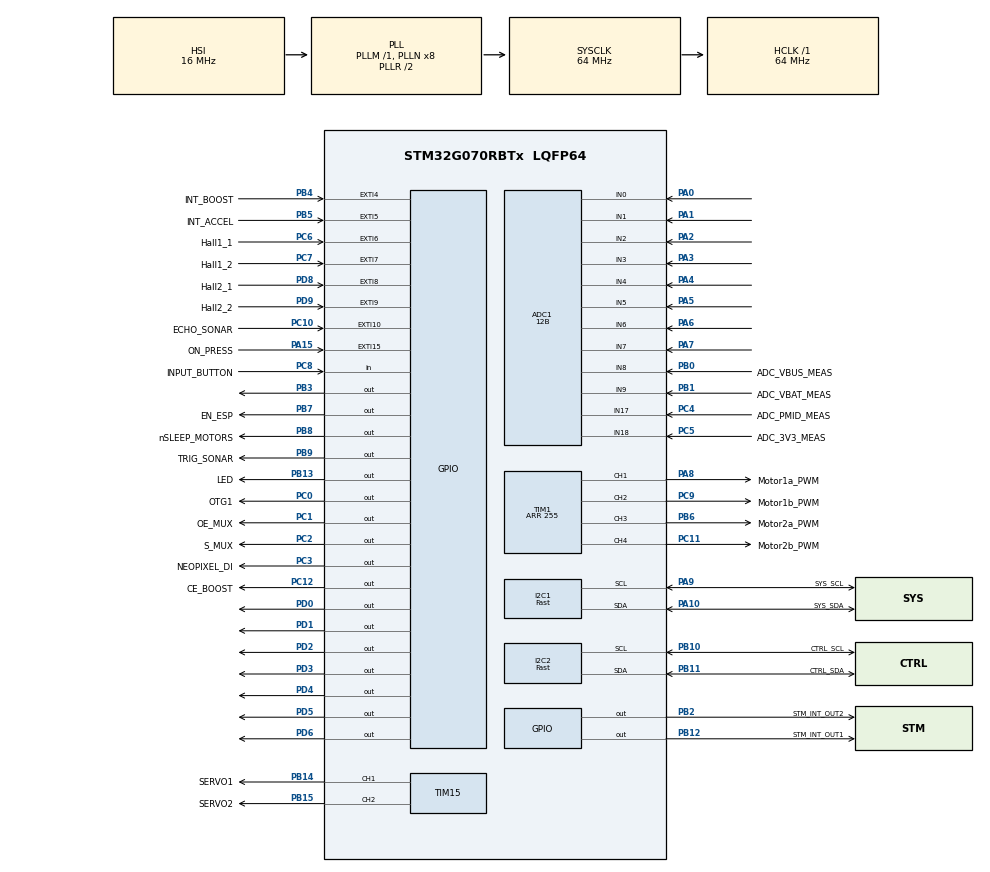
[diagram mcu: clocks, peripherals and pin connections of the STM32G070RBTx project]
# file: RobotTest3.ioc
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ADC1.ClockPrescaler=ADC_CLOCK_ASYNC_DIV1
ADC1.ContinuousConvMode=ENABLE
ADC1.DMAContinuousRequests=DISABLE
ADC1.DiscontinuousConvMode=DISABLE
ADC1.EOCSelection=ADC_EOC_SEQ_CONV
ADC1.EnableAnalogWatchDog1=false
ADC1.ExternalTrigConv=ADC_SOFTWARE_START
ADC1.ExternalTrigConvEdge=ADC_EXTERNALTRIGCONVEDGE_NONE
ADC1.NbrOfConversion=1
ADC1.NbrOfConversionFlag=0
ADC1.Overrun=ADC_OVR_DATA_PRESERVED
ADC1.OversamplingMode=DISABLE
ADC1.Resolution=ADC_RESOLUTION_12B
ADC1.SamplingTimeCommon1=ADC_SAMPLETIME_39CYCLES_5
ADC1.SelectedChannel=ADC_CHANNEL_0|ADC_CHANNEL_1|ADC_CHANNEL_2|ADC_CHANNEL_3|ADC_CHANNEL_4|ADC_CHANNEL_5|ADC_CHANNEL_6|ADC_CHANNEL_7|ADC_CHANNEL_8|ADC_CHANNEL_9|ADC_CHANNEL_17|ADC_CHANNEL_18
ADC1.Sequencer=NOT_FULLY_CONFIGURABLE
ADC1.TriggerFrequencyMode=ADC_TRIGGER_FREQ_HIGH
ADC1.master=1
Dma.ADC1.0.Direction=DMA_PERIPH_TO_MEMORY
Dma.ADC1.0.EventEnable=DISABLE
Dma.ADC1.0.Instance=DMA1_Channel1
Dma.ADC1.0.MemDataAlignment=DMA_MDATAALIGN_HALFWORD
Dma.ADC1.0.MemInc=DMA_MINC_ENABLE
Dma.ADC1.0.Mode=DMA_CIRCULAR
Dma.ADC1.0.PeriphDataAlignment=DMA_PDATAALIGN_HALFWORD
Dma.ADC1.0.PeriphInc=DMA_PINC_DISABLE
Dma.ADC1.0.Polarity=HAL_DMAMUX_REQ_GEN_RISING
Dma.ADC1.0.Priority=DMA_PRIORITY_VERY_HIGH
Dma.ADC1.0.RequestNumber=1
Dma.ADC1.0.SignalID=NONE
Dma.ADC1.0.SyncEnable=DISABLE
Dma.ADC1.0.SyncPolarity=HAL_DMAMUX_SYNC_NO_EVENT
Dma.ADC1.0.SyncRequestNumber=1
Dma.ADC1.0.SyncSignalID=NONE
Dma.Request0=ADC1
I2C1.CustomTiming=Disabled
I2C1.I2C_Speed_Mode=I2C_Fast
I2C1.OwnAddress=0x01
I2C1.Timing=0x00602173
I2C2.I2C_Speed_Mode=I2C_Fast
I2C2.OwnAddress=0x01
I2C2.Timing=0x00602173
Mcu.Family=STM32G0
Mcu.Name=STM32G070RBTx
Mcu.Package=LQFP64
NVIC.DMA1_Channel1_IRQn=true\:1\:0\:true\:false\:true\:false\:true\:true
NVIC.EXTI4_15_IRQn=true\:1\:0\:true\:false\:true\:true\:true\:true
NVIC.I2C1_IRQn=true\:1\:0\:true\:false\:true\:true\:true\:true
NVIC.I2C2_IRQn=true\:1\:0\:true\:false\:true\:true\:true\:true
NVIC.TIM14_IRQn=true\:0\:0\:false\:false\:true\:true\:true\:true
NVIC.TIM3_IRQn=true\:0\:0\:true\:false\:true\:true\:true\:true
NVIC.TIM6_IRQn=true\:1\:0\:true\:false\:true\:true\:true\:true
NVIC.TIM7_IRQn=true\:0\:0\:false\:false\:true\:true\:true\:true
PA0.Mode=IN0
PA0.Signal=ADC1_IN0
PA1.Mode=IN1
PA1.Signal=ADC1_IN1
PA10.GPIO_Label=SYS_SDA
PA10.Mode=I2C
PA10.Signal=I2C1_SDA
PA13.Mode=Serial_Wire
PA13.Signal=SYS_SWDIO
PA14-BOOT0.Mode=Serial_Wire
PA14-BOOT0.Signal=SYS_SWCLK
PA15.GPIO_Label=ON_PRESS
PA15.GPIO_ModeDefaultEXTI=GPIO_MODE_IT_FALLING
PA15.Signal=GPXTI15
PA2.Mode=IN2
PA2.Signal=ADC1_IN2
PA3.Mode=IN3
PA3.Signal=ADC1_IN3
PA4.Mode=IN4
PA4.Signal=ADC1_IN4
PA5.Mode=IN5
PA5.Signal=ADC1_IN5
PA6.Mode=IN6
PA6.Signal=ADC1_IN6
PA7.Mode=IN7
PA7.Signal=ADC1_IN7
PA8.GPIO_Label=Motor1a_PWM
PA8.Signal=S_TIM1_CH1
PA9.GPIO_Label=SYS_SCL
PA9.Mode=I2C
PA9.Signal=I2C1_SCL
PB0.GPIO_Label=ADC_VBUS_MEAS
PB0.Mode=IN8
PB0.Signal=ADC1_IN8
PB1.GPIO_Label=ADC_VBAT_MEAS
PB1.GPIO_Mode=GPIO_MODE_ANALOG
PB1.GPIO_PuPd=GPIO_NOPULL
PB1.Mode=IN9
PB1.Signal=ADC1_IN9
PB10.GPIO_Label=CTRL_SCL
PB10.Mode=I2C
PB10.Signal=I2C2_SCL
PB11.GPIO_Label=CTRL_SDA
PB11.Mode=I2C
PB11.Signal=I2C2_SDA
PB12.GPIO_Label=STM_INT_OUT1
PB12.Signal=GPIO_Output
PB13.GPIO_Label=LED
PB13.Signal=GPIO_Output
PB14.GPIO_Label=SERVO1
PB14.Signal=S_TIM15_CH1
PB15.GPIO_Label=SERVO2
PB15.Signal=S_TIM15_CH2
PB2.GPIO_Label=STM_INT_OUT2
PB2.Signal=GPIO_Output
PB3.Signal=GPIO_Output
PB4.GPIO_Label=INT_BOOST
PB4.Signal=GPXTI4
PB5.GPIO_Label=INT_ACCEL
PB5.Signal=GPXTI5
PB6.GPIO_FM6=__NULL
PB6.GPIO_Label=Motor2a_PWM
PB6.Signal=S_TIM1_CH3
PB7.GPIO_Label=EN_ESP
PB7.PinState=GPIO_PIN_RESET
PB7.Signal=GPIO_Output
PB8.GPIO_Label=nSLEEP_MOTORS
PB8.PinState=GPIO_PIN_SET
PB8.Signal=GPIO_Output
PB9.GPIO_Label=TRIG_SONAR
PB9.Signal=GPIO_Output
PC0.GPIO_Label=OTG1
PC0.PinState=GPIO_PIN_SET
PC0.Signal=GPIO_Output
PC1.GPIO_Label=OE_MUX
PC1.Signal=GPIO_Output
PC10.GPIO_Label=ECHO_SONAR
PC10.GPIO_ModeDefaultEXTI=GPIO_MODE_IT_RISING_FALLING
PC10.Signal=GPXTI10
PC11.GPIO_Label=Motor2b_PWM
PC11.Signal=S_TIM1_CH4
PC12.GPIO_Label=CE_BOOST
PC12.Signal=GPIO_Output
PC2.GPIO_Label=S_MUX
PC2.PinState=GPIO_PIN_SET
PC2.Signal=GPIO_Output
PC3.GPIO_Label=NEOPIXEL_DI
PC3.GPIO_ModeDefaultOutputPP=GPIO_MODE_OUTPUT_OD
PC3.GPIO_PuPd=GPIO_NOPULL
PC3.PinState=GPIO_PIN_SET
PC3.Signal=GPIO_Output
PC4.GPIO_Label=ADC_PMID_MEAS
PC4.Mode=IN17
PC4.Signal=ADC1_IN17
PC5.GPIO_Label=ADC_3V3_MEAS
PC5.Mode=IN18
PC5.Signal=ADC1_IN18
PC6.GPIO_Label=Hall1_1
PC6.Signal=GPXTI6
PC7.GPIO_Label=Hall1_2
PC7.Signal=GPXTI7
PC8.GPIO_Label=INPUT_BUTTON
PC8.Signal=GPIO_Input
PC9.GPIO_Label=Motor1b_PWM
PC9.Signal=S_TIM1_CH2
PD0.Signal=GPIO_Output
PD1.Signal=GPIO_Output
PD2.Signal=GPIO_Output
PD3.Signal=GPIO_Output
PD4.Signal=GPIO_Output
PD5.Signal=GPIO_Output
PD6.Signal=GPIO_Output
PD8.GPIO_Label=Hall2_1
PD8.Signal=GPXTI8
PD9.GPIO_Label=Hall2_2
PD9.Signal=GPXTI9
ProjectManager.HeapSize=0x200
ProjectManager.StackSize=0x400
ProjectManager.TargetToolchain=STM32CubeIDE
RCC.ADCFreq_Value=64000000
RCC.AHBFreq_Value=64000000
RCC.CortexFreq_Value=64000000
RCC.EXTERNAL_CLOCK_VALUE=48000
RCC.HCLKFreq_Value=64000000
RCC.HSE_VALUE=8000000
RCC.HSI_VALUE=16000000
RCC.LSE_VALUE=32768
RCC.SYSCLKFreq_VALUE=64000000
RCC.SYSCLKSource=RCC_SYSCLKSOURCE_PLLCLK
RCC.VCOOutputFreq_Value=128000000
SH.S_TIM15_CH1.0=TIM15_CH1,PWM Generation1 CH1
SH.S_TIM15_CH2.0=TIM15_CH2,PWM Generation2 CH2
SH.S_TIM1_CH1.0=TIM1_CH1,PWM Generation1 CH1
SH.S_TIM1_CH2.0=TIM1_CH2,PWM Generation2 CH2
SH.S_TIM1_CH3.0=TIM1_CH3,PWM Generation3 CH3
SH.S_TIM1_CH4.0=TIM1_CH4,PWM Generation4 CH4
TIM1.Channel-PWM\ Generation1\ CH1=TIM_CHANNEL_1
TIM1.Channel-PWM\ Generation2\ CH2=TIM_CHANNEL_2
TIM1.Channel-PWM\ Generation3\ CH3=TIM_CHANNEL_3
TIM1.Channel-PWM\ Generation4\ CH4=TIM_CHANNEL_4
TIM1.ClockDivision=TIM_CLOCKDIVISION_DIV1
TIM1.OCPolarity_1=TIM_OCPOLARITY_HIGH
TIM1.OCPolarity_2=TIM_OCPOLARITY_HIGH
TIM1.OCPolarity_3=TIM_OCPOLARITY_HIGH
TIM1.OCPolarity_4=TIM_OCPOLARITY_HIGH
TIM1.Period=255
TIM1.Pulse-PWM\ Generation1\ CH1=0
TIM1.Pulse-PWM\ Generation4\ CH4=0
TIM14.Period=2400
TIM15.Channel-PWM\ Generation1\ CH1=TIM_CHANNEL_1
TIM15.Channel-PWM\ Generation2\ CH2=TIM_CHANNEL_2
TIM3.ClockDivision=TIM_CLOCKDIVISION_DIV1
TIM3.Period=1000
TIM3.TIM_MasterOutputTrigger=TIM_TRGO_RESET
TIM6.Period=64000
TIM7.Period=9600
VP_TIM14_VS_ClockSourceINT.Mode=Enable_Timer
VP_TIM1_VS_ClockSourceINT.Mode=Internal
VP_TIM3_VS_ClockSourceINT.Mode=Internal
VP_TIM6_VS_ClockSourceINT.Mode=Enable_Timer
VP_TIM7_VS_ClockSourceINT.Mode=Enable_Timer
board=custom

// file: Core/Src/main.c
/* USER CODE BEGIN Header */
/**
  ******************************************************************************
  * @file           : main.c
  * @brief          : Main program body
  ******************************************************************************
  * @attention
  *
  * Copyright (c) 2023 STMicroelectronics.
  * All rights reserved.
  *
  * This software is licensed under terms that can be found in the LICENSE file
  * in the root directory of this software component.
  * If no LICENSE file comes with this software, it is provided AS-IS.
  *
  ******************************************************************************
  */
/* USER CODE END Header */
#include "main.h"

/* USER CODE BEGIN Includes */
#include "stdlib.h"
/* USER CODE END Includes */

/* USER CODE BEGIN PTD */

//----------------------register record

typedef struct __attribute__((packed)) {
    uint8_t shutdown : 1;			//shutdown robot
    uint8_t irleds : 1;				//enable IRleds
    uint8_t sonar : 1;				//enable hc-sr04
    uint8_t servo : 1;				//enable servo output
    uint8_t motors : 1;				//enable motor drivers & PWM out
    uint8_t encoderMeas : 1;		//enable encoder step counting
    uint8_t powerMeas : 1;			//enable power measurements over i2c
    uint8_t neopixels : 1;			//enable neopixel driver
} EnableConfig_t;

typedef struct __attribute__((packed)) {
    uint8_t rate1 : 2;				//group 1 sensor polling rate 20hz/60hz/120hz/240hz
    uint8_t rate2 : 2;				//group 2 sensor polling rate 20hz/60hz/120hz/240hz
    uint8_t interrupt1 : 1;			//interrupt for group 1 (signals data ready)
    uint8_t interrupt2 : 1;			//interrupt for group 2 (signals data ready)
    uint8_t bit6 : 1;
    uint8_t bit7 : 1;
} PollingConfig_t;

typedef struct __attribute__((packed)) {
    uint8_t pollN : 1;				//which sensor group it belongs (1 or 2)
    uint8_t power : 3;				//power settings (to be implemented)
    uint8_t bit4 : 1;
    uint8_t bit5 : 1;
    uint8_t bit6 : 1;
    uint8_t bit7 : 1;
} IRledConfig_t;

typedef struct __attribute__((packed)) {
    uint8_t PollN : 1;				//which sensor group it belongs (1 or 2)
    uint8_t bit1 : 1;
    uint8_t bit2 : 1;
    uint8_t bit3 : 1;
    uint8_t bit4 : 1;
    uint8_t bit5 : 1;
    uint8_t bit6 : 1;
    uint8_t bit7 : 1;
} SonarConfig_t;

typedef struct __attribute__((packed)) {
    uint8_t pollN : 1;				//sensor group it belongs
    uint8_t bit1 : 1;				//low power cutoff
    uint8_t bit2 : 1;
    uint8_t bit3 : 1;
    uint8_t bit4 : 1;
    uint8_t bit5 : 1;
    uint8_t bit6 : 1;
    uint8_t bit7 : 1;
} PowerConfig_t;

typedef struct __attribute__((packed)) {
    uint8_t mode : 2;				//power, encoder, steps modes
    uint8_t bit2 : 1;
    uint8_t bit3 : 1;
    uint8_t bit4 : 1;
    uint8_t bit5 : 1;
    uint8_t bit6 : 1;
    uint8_t bit7 : 1;
} MotorsConfig_t;

typedef struct __attribute__((packed)) {
    int8_t data : 8;
} Motor1Data_t;

typedef struct __attribute__((packed)) {
	int8_t data : 8;
} Motor2Data_t;

typedef struct __attribute__((packed)) {
	EnableConfig_t 	ec;
	PollingConfig_t pc;
	IRledConfig_t	ir;
	SonarConfig_t	sc;
	PowerConfig_t	pwc;
	MotorsConfig_t	mc;
	Motor1Data_t	m1;
	Motor2Data_t	m2;
} I2C_RegRecord_t;

//------------------------end of register record

//i2c receive options, used for external device to change reg record
typedef struct {
    uint8_t address;
    uint8_t data;
} I2C_RecieveOptions_t;

typedef struct {
	uint8_t ledN;
	uint8_t scl;
	uint8_t count;

} IRscanVars_t;

typedef struct {
	volatile int count;

} SequencerVars_t;

typedef struct {
	volatile int count;
	volatile int mode;
	volatile int trig;
	volatile int reading;
} SonarVars_t;

/* USER CODE END PTD */

/* USER CODE BEGIN PD */

#define BQ24295_ADDR       (0x6B << 1)

/* USER CODE END PD */

ADC_HandleTypeDef hadc1;
DMA_HandleTypeDef hdma_adc1;

I2C_HandleTypeDef hi2c1;
I2C_HandleTypeDef hi2c2;

TIM_HandleTypeDef htim1;
TIM_HandleTypeDef htim3;
TIM_HandleTypeDef htim6;
TIM_HandleTypeDef htim7;
TIM_HandleTypeDef htim14;
TIM_HandleTypeDef htim15;

/* USER CODE BEGIN PV */

I2C_RegRecord_t i2cReg ={0};
I2C_RecieveOptions_t i2cRo ={0};

IRscanVars_t irscan={0};
SequencerVars_t sequencerVars={0};
ADC_ChannelConfTypeDef adcConfig={0};
SonarVars_t sonarVars={0};

uint16_t adcDMAbuf[12] = {0,0,0,0,0,0,0,0,0,0,0,0};
uint16_t adcDMAbuf2[12] = {0,0,0,0,0,0,0,0,0,0,0,0};
uint16_t adcConversions[12]={0,0,0,0,0,0,0,0,0,0,0,0};

uint8_t i2cTransmitBuf[30]={0};

GPIO_PinState lastButtonState = GPIO_PIN_RESET;   // Previous button state, assumed initially released.
uint32_t lastDebounceTime = 0;                    // Last time the button input was toggled.
const uint32_t debounceDelay = 50;                // Debounce time in milliseconds.

//flags
uint8_t firstBoot_flag = 0;
volatile uint8_t i2cCheck_flag = 0;
volatile uint8_t rxCheck = 0;
volatile uint8_t wrCheck = 0;
/* USER CODE END PV */

void SystemClock_Config(void);
static void MX_GPIO_Init(void);
static void MX_DMA_Init(void);
static void MX_ADC1_Init(void);
static void MX_I2C1_Init(void);
static void MX_I2C2_Init(void);
static void MX_TIM1_Init(void);
static void MX_TIM15_Init(void);
static void MX_TIM3_Init(void);
static void MX_TIM6_Init(void);
static void MX_TIM7_Init(void);
static void MX_TIM14_Init(void);

/* USER CODE BEGIN 0 */

void PollToggleButton(void) {
    GPIO_PinState currentButtonState = HAL_GPIO_ReadPin(GPIOC, GPIO_PIN_8);

    // Check for a button state change
    if (currentButtonState != lastButtonState) {
        // If the current state of the button is LOW, that means it was just pressed
        if (currentButtonState == GPIO_PIN_RESET) {
            uint32_t currentTime = HAL_GetTick();

            if ((currentTime - lastDebounceTime) > debounceDelay) {
                // Toggle the LED
            	HAL_GPIO_TogglePin(GPIOB, GPIO_PIN_8);
            	// Reset the debounce timer
            	lastDebounceTime = currentTime;
            }
        }
        lastButtonState = currentButtonState;
    }
}

void BQ24295_SetShippingMode(void) {
    uint8_t data;

    // Disable Watchdog Timer: Set address 0x05[5:4] to 00
    HAL_I2C_Mem_Read(&hi2c1, BQ24295_ADDR, 0x05, I2C_MEMADD_SIZE_8BIT, &data, 1, HAL_MAX_DELAY);
    data &= 0xCF;  // Clear bits 5 and 4
    HAL_I2C_Mem_Write(&hi2c1, BQ24295_ADDR, 0x05, I2C_MEMADD_SIZE_8BIT, &data, 1, HAL_MAX_DELAY);

    // Disable BATFET: Set address 0x07[5] to 1
    HAL_I2C_Mem_Read(&hi2c1, BQ24295_ADDR, 0x07, I2C_MEMADD_SIZE_8BIT, &data, 1, HAL_MAX_DELAY);
    data |= 0x20;  // Set bit 5
    HAL_I2C_Mem_Write(&hi2c1, BQ24295_ADDR, 0x07, I2C_MEMADD_SIZE_8BIT, &data, 1, HAL_MAX_DELAY);
}

void HAL_I2C_AddrCallback(I2C_HandleTypeDef *hi2c, uint8_t TransferDirection, uint16_t AddrMatchCode){

	uint8_t *regAddr = (uint8_t *)&i2cReg;  // Cast struct to byte pointer
/*
	for(int i = 0; i < 12; i++) {
	    i2cTransmitBuf[i * 2 + 1] = (uint8_t)(adcConversions[i] & 0xFF); // Lower 8 bits
	    i2cTransmitBuf[i * 2] = (uint8_t)((adcConversions[i] >> 8) & 0xFF); // Upper 8 bits
	}
*/
	if(TransferDirection == I2C_DIRECTION_TRANSMIT)
		{
			i2cCheck_flag=1;	//check option fields flag
			HAL_I2C_Slave_Seq_Receive_IT(hi2c, (uint8_t *)&i2cRo, 2, I2C_FIRST_AND_LAST_FRAME);	//receive i2c command
		}
		else
		{
			if(wrCheck==0){
				int length=(i2cReg.ec.irleds)*16+(i2cReg.ec.powerMeas)*8+(i2cReg.ec.sonar)*2+(i2cReg.ec.encoderMeas)*2;
				int count=-1; int pattern; int check[4]={0};
				for(int i=0;i<(sizeof(i2cTransmitBuf)/sizeof(i2cTransmitBuf[0]))/2;i++){

					if(count<0){
						if(i2cReg.ec.irleds&&!check[0]){
							count=7;
							pattern=0;
							check[0]=1;
						}else if(i2cReg.ec.sonar&&!check[1]){
							count=0;
							pattern=1;
							check[1]=1;
						}else if(i2cReg.ec.powerMeas&&!check[2]){
							count=3;
							pattern=2;
							check[2]=1;
						}else if(i2cReg.ec.encoderMeas&&!check[3]){
							count=0;
							pattern=3;
							check[3]=1;
						}else{pattern=-1;}
					}

					switch(pattern){
					case 0:
						i2cTransmitBuf[i * 2 + 1] = (uint8_t)(adcConversions[7-count] & 0xFF); // Lower 8 bits
						i2cTransmitBuf[i * 2] = (uint8_t)((adcConversions[7-count] >> 8) & 0xFF); // Upper 8 bits
						break;
					case 1:
						i2cTransmitBuf[i * 2 + 1] = (uint8_t)(sonarVars.reading & 0xFF); // Lower 8 bits
						i2cTransmitBuf[i * 2] = (uint8_t)((sonarVars.reading >> 8) & 0xFF); // Upper 8 bits
						break;
					case 2:
						i2cTransmitBuf[i * 2 + 1] = (uint8_t)(adcConversions[11-count] & 0xFF); // Lower 8 bits
						i2cTransmitBuf[i * 2] = (uint8_t)((adcConversions[11-count] >> 8) & 0xFF); // Upper 8 bits
						break;
					case 3:
						i2cTransmitBuf[i * 2 + 1] = (uint8_t)(adcConversions[11-count] & 0xFF); // Lower 8 bits
						i2cTransmitBuf[i * 2] = (uint8_t)((adcConversions[11-count] >> 8) & 0xFF); // Upper 8 bits
						break;
					default:
						i2cTransmitBuf[i * 2 + 1] = 0;
						i2cTransmitBuf[i * 2] = 0;
					}

					count--;

				}
				HAL_I2C_Slave_Seq_Transmit_IT(hi2c, i2cTransmitBuf, length, I2C_FIRST_AND_LAST_FRAME);	//send data
			} else {
				HAL_I2C_Slave_Seq_Transmit_IT(hi2c, &(regAddr[i2cRo.data-1]), 1, I2C_FIRST_AND_LAST_FRAME);
				wrCheck=0;
			}
		}

}

void HAL_I2C_SlaveRxCpltCallback(I2C_HandleTypeDef *hi2c){
	uint8_t *regAddr = (uint8_t *)&i2cReg;  // Cast struct to byte pointer
	if(i2cRo.address==0){
		wrCheck=1;		//special address 0 triggers next read to be data from specified address of register, flag sets next address callback to write single byte data
	} else if(i2cRo.address < sizeof(I2C_RegRecord_t) + 1) {
        regAddr[i2cRo.address-1] = i2cRo.data;  // Write received data to the specified register
    }
    else {
        Error_Handler();  // Invalid address received
    }
	rxCheck=1;
}

void HAL_I2C_ListenCpltCallback (I2C_HandleTypeDef *hi2c)
{
	HAL_I2C_EnableListen_IT(hi2c);
}

void HAL_I2C_ErrorCallback(I2C_HandleTypeDef *hi2c)
{
	HAL_I2C_EnableListen_IT(hi2c);
}

void HAL_TIM_PeriodElapsedCallback(TIM_HandleTypeDef *htim){
	if (htim->Instance == TIM6){
		HAL_GPIO_TogglePin(GPIOB, GPIO_PIN_13);

		if(sequencerVars.count%4==0&&i2cReg.ec.irleds==1){HAL_TIM_Base_Start_IT(&htim3);}

		if(sequencerVars.count%80==0&&sonarVars.mode==0&&htim14.State==1&&i2cReg.ec.sonar==1){
			sonarVars.count=1;
			sonarVars.trig=0;
			sonarVars.mode=1;
			//HAL_TIM_Base_Start(&htim14);
			HAL_TIM_Base_Start_IT(&htim14);

		}

		if(i2cReg.m1.data>0){
			__HAL_TIM_SET_COMPARE(&htim1, TIM_CHANNEL_1, (uint8_t)abs(i2cReg.m1.data)<<1);
			__HAL_TIM_SET_COMPARE(&htim1, TIM_CHANNEL_2, 0);
		}else{
			__HAL_TIM_SET_COMPARE(&htim1, TIM_CHANNEL_1, 0);
			__HAL_TIM_SET_COMPARE(&htim1, TIM_CHANNEL_2, (uint8_t)abs(i2cReg.m1.data)<<1);
		}

		if(i2cReg.m2.data>0){
			__HAL_TIM_SET_COMPARE(&htim1, TIM_CHANNEL_4, (uint8_t)abs(i2cReg.m2.data)<<1);
			__HAL_TIM_SET_COMPARE(&htim1, TIM_CHANNEL_3, 0);
		}else{
			__HAL_TIM_SET_COMPARE(&htim1, TIM_CHANNEL_4, 0);
			__HAL_TIM_SET_COMPARE(&htim1, TIM_CHANNEL_3, (uint8_t)abs(i2cReg.m2.data)<<1);
		}

		if(sequencerVars.count==240){sequencerVars.count=1;}else{sequencerVars.count++;}
	}

	if (htim->Instance == TIM3){

		if(i2cReg.ec.irleds==0){
			HAL_GPIO_WritePin(GPIOB,GPIO_PIN_3,0);
			HAL_GPIO_WritePin(GPIOD,GPIO_PIN_0,0);
			HAL_GPIO_WritePin(GPIOD,GPIO_PIN_1,0);
			HAL_GPIO_WritePin(GPIOD,GPIO_PIN_2,0);
			HAL_GPIO_WritePin(GPIOD,GPIO_PIN_3,0);
			HAL_GPIO_WritePin(GPIOD,GPIO_PIN_4,0);
			HAL_GPIO_WritePin(GPIOD,GPIO_PIN_5,0);
			HAL_GPIO_WritePin(GPIOD,GPIO_PIN_6,0);
		}

		if(irscan.scl==0){

			switch(irscan.ledN){
				case 0:
					HAL_GPIO_WritePin(GPIOB,GPIO_PIN_3,0);
					HAL_GPIO_WritePin(GPIOD,GPIO_PIN_0,1);
					break;
				case 1:
					HAL_GPIO_WritePin(GPIOD,GPIO_PIN_0,0);
					HAL_GPIO_WritePin(GPIOD,GPIO_PIN_1,1);
					break;
				case 2:
					HAL_GPIO_WritePin(GPIOD,GPIO_PIN_1,0);
					HAL_GPIO_WritePin(GPIOD,GPIO_PIN_2,1);
					break;
				case 3:
					HAL_GPIO_WritePin(GPIOD,GPIO_PIN_2,0);
					HAL_GPIO_WritePin(GPIOD,GPIO_PIN_3,1);
					break;
				case 4:
					HAL_GPIO_WritePin(GPIOD,GPIO_PIN_3,0);
					HAL_GPIO_WritePin(GPIOD,GPIO_PIN_4,1);
					break;
				case 5:
					HAL_GPIO_WritePin(GPIOD,GPIO_PIN_4,0);
					HAL_GPIO_WritePin(GPIOD,GPIO_PIN_5,1);
					break;
				case 6:
					HAL_GPIO_WritePin(GPIOD,GPIO_PIN_5,0);
					HAL_GPIO_WritePin(GPIOD,GPIO_PIN_6,1);
					break;
				case 7:
					HAL_GPIO_WritePin(GPIOD,GPIO_PIN_6,0);
					HAL_GPIO_WritePin(GPIOB,GPIO_PIN_3,1);
					break;
				default:
					Error_Handler();
			}
			irscan.scl=1;
		}else if(irscan.scl==2){

			switch(irscan.ledN){
				case 0:
					adcConversions[0]=adcDMAbuf[0];
					break;
				case 1:
					adcConversions[1]=adcDMAbuf[1];
					break;
				case 2:
					adcConversions[2]=adcDMAbuf[2];
					break;
				case 3:
					adcConversions[3]=adcDMAbuf[3];
					break;
				case 4:
					adcConversions[4]=adcDMAbuf[4];
					break;
				case 5:
					adcConversions[5]=adcDMAbuf[5];
					break;
				case 6:
					adcConversions[6]=adcDMAbuf[6];
					break;
				case 7:
					adcConversions[7]=adcDMAbuf[7];
					break;
				default:
					Error_Handler();
			}
			irscan.scl=0;
		}else if(irscan.scl==1){
			HAL_ADC_Start_DMA(&hadc1, (uint32_t*)adcDMAbuf, 12);
			irscan.scl=2;
		}

		if (irscan.scl==0) {
			irscan.ledN++;
			if(irscan.ledN>7){irscan.ledN=0;}
		}

		//hadc1.Instance->CHSELR=irscan.ledN;
		//HAL_ADC_ConfigChannel(hadc, pConfig)
		//adcConfig.Channel=irscan.ledN;
		//HAL_ADC_ConfigChannel(&hadc1,&adcConfig);
		//hadc1.Instance->CHSELR &= ~(0x1F);  // Clear the current channel selection
		//hadc1.Instance->CHSELR |= (irscan.ledN);  // Set the new channel

		if(irscan.count>22){
			irscan.ledN=0;
			irscan.scl=0;
			irscan.count=0;
			HAL_TIM_Base_Stop(htim);
			__HAL_TIM_SET_COUNTER(htim,0);
		}else{irscan.count++;}

	}

	if (htim->Instance == TIM14){
		if(sonarVars.mode==1){
			HAL_GPIO_WritePin(TRIG_SONAR_GPIO_Port, TRIG_SONAR_Pin, 1);
			sonarVars.count--;
			if(sonarVars.count<1){
				sonarVars.mode=2;
			}
		}else if(sonarVars.mode==2){
			sonarVars.mode=0;
			HAL_TIM_Base_Stop(htim);
			__HAL_TIM_SET_COUNTER(htim,0);
			HAL_GPIO_WritePin(TRIG_SONAR_GPIO_Port, TRIG_SONAR_Pin, 0);
		} else {
			sonarVars.count++;
			if(sonarVars.trig==1){
				HAL_GPIO_WritePin(TRIG_SONAR_GPIO_Port, TRIG_SONAR_Pin, 0);
				HAL_TIM_Base_Stop(htim);
				sonarVars.reading=sonarVars.count;
				sonarVars.count=0;
				sonarVars.mode=0;
				sonarVars.trig=0;
			}
		}

	}

}

void HAL_ADC_ConvCpltCallback(ADC_HandleTypeDef* hadc)
{

}

void HAL_GPIO_EXTI_Falling_Callback(uint16_t GPIO_Pin)
{
	if(GPIO_Pin==GPIO_PIN_15){
		if(firstBoot_flag==1){
			BQ24295_SetShippingMode();
		}
	}
	if(GPIO_Pin==GPIO_PIN_10){
		sonarVars.trig=1;
	}

}

void HAL_GPIO_EXTI_Rising_Callback(uint16_t GPIO_Pin)
{
	if(GPIO_Pin==GPIO_PIN_10){
		sonarVars.count=0;
		sonarVars.mode=3;
		if(HAL_TIM_Base_Start_IT(&htim14)==1){HAL_GPIO_WritePin(TRIG_SONAR_GPIO_Port, TRIG_SONAR_Pin, 0);};
	}
}

/* USER CODE END 0 */

int main(void)
{

  /* MCU Configuration--------------------------------------------------------*/

  /* Reset of all peripherals, Initializes the Flash interface and the Systick. */
  HAL_Init();

  /* Configure the system clock */
  SystemClock_Config();

  /* Initialize all configured peripherals */
  MX_GPIO_Init();
  MX_DMA_Init();
  MX_ADC1_Init();
  MX_I2C1_Init();
  MX_I2C2_Init();
  MX_TIM1_Init();
  MX_TIM15_Init();
  MX_TIM3_Init();
  MX_TIM6_Init();
  MX_TIM7_Init();
  MX_TIM14_Init();
  /* USER CODE BEGIN 2 */

  //input button has no interrupt available, polling
  GPIO_PinState input1;

  //DMA for ADC
  //HAL_ADC_Start_DMA(&hadc1, (uint32_t*)adcDMAbuf, 1);

  //enable i2c
  HAL_I2C_Init(&hi2c2);
  HAL_I2C_EnableListen_IT(&hi2c2);

  //enable motor PWM
  HAL_TIM_PWM_Start(&htim1, TIM_CHANNEL_1);
  HAL_TIM_PWM_Start(&htim1, TIM_CHANNEL_2);
  HAL_TIM_PWM_Start(&htim1, TIM_CHANNEL_3);
  HAL_TIM_PWM_Start(&htim1, TIM_CHANNEL_4);

  //enable timer interrupts
  HAL_TIM_Base_Start_IT(&htim3);
  HAL_TIM_Base_Start_IT(&htim6);
  //HAL_TIM_Base_Start_IT(&htim14);

  //calibrate ADC
  HAL_ADCEx_Calibration_Start(&hadc1);

  //adcConfig.Channel = ADC_CHANNEL_0;
  //adcConfig.Rank = ADC_REGULAR_RANK_1;
  //adcConfig.SamplingTime = ADC_SAMPLINGTIME_COMMON_1;

  /* USER CODE END 2 */

  /* Infinite loop */
  while (1)
  {

    /* USER CODE BEGIN 3 */

	  input1 = HAL_GPIO_ReadPin(GPIOC, GPIO_PIN_8);

	  if(firstBoot_flag==0){
		  if(HAL_GetTick()>1000){

			  HAL_GPIO_WritePin(EN_ESP_GPIO_Port, EN_ESP_Pin, 1);
			  firstBoot_flag=1;
		  }
	  }

	  if(i2cCheck_flag==1){
			if(i2cReg.ec.irleds==0){
				HAL_GPIO_WritePin(GPIOB,GPIO_PIN_3,0);
				HAL_GPIO_WritePin(GPIOD,GPIO_PIN_0,0);
				HAL_GPIO_WritePin(GPIOD,GPIO_PIN_1,0);
				HAL_GPIO_WritePin(GPIOD,GPIO_PIN_2,0);
				HAL_GPIO_WritePin(GPIOD,GPIO_PIN_3,0);
				HAL_GPIO_WritePin(GPIOD,GPIO_PIN_4,0);
				HAL_GPIO_WritePin(GPIOD,GPIO_PIN_5,0);
				HAL_GPIO_WritePin(GPIOD,GPIO_PIN_6,0);
			}
	  }

	  //HAL_TIM_Base_Start(&htim7);

	  //HAL_GPIO_WritePin(GPIOB,GPIO_PIN_3,1);
	  HAL_Delay(1);
/*
	  if(i2cReg.m1.data>0){
		  __HAL_TIM_SET_COMPARE(&htim1, TIM_CHANNEL_1, (uint8_t)abs(i2cReg.m1.data)<<1);
		  __HAL_TIM_SET_COMPARE(&htim1, TIM_CHANNEL_2, 0);
	  }else{
		  __HAL_TIM_SET_COMPARE(&htim1, TIM_CHANNEL_1, 0);
		  __HAL_TIM_SET_COMPARE(&htim1, TIM_CHANNEL_2, (uint8_t)abs(i2cReg.m1.data)<<1);
	  }

	  if(i2cReg.m2.data>0){
		  __HAL_TIM_SET_COMPARE(&htim1, TIM_CHANNEL_4, (uint8_t)abs(i2cReg.m2.data)<<1);
		  __HAL_TIM_SET_COMPARE(&htim1, TIM_CHANNEL_3, 0);
	  }else{
		  __HAL_TIM_SET_COMPARE(&htim1, TIM_CHANNEL_4, 0);
		  __HAL_TIM_SET_COMPARE(&htim1, TIM_CHANNEL_3, (uint8_t)abs(i2cReg.m2.data)<<1);
	  }
*/
	  PollToggleButton();
	  //HAL_I2C_EnableListen_IT(&hi2c2);
	  //HAL_I2C_EnableListen_IT(&hi2c1);
	  /*HAL_ADC_Start(&hadc1);
	  if (HAL_ADC_PollForConversion(&hadc1, 10) == HAL_OK){
		  HAL_ADC_Stop_DMA(&hadc1);
		  HAL_ADC_Start_DMA(&hadc1, (uint32_t*)adcConversions, 12);

	  }*/

	  //HAL_GPIO_WritePin(GPIOB,GPIO_PIN_3,0);
  }
  /* USER CODE END 3 */
}

void SystemClock_Config(void)
{
  RCC_OscInitTypeDef RCC_OscInitStruct = {0};
  RCC_ClkInitTypeDef RCC_ClkInitStruct = {0};

  /** Configure the main internal regulator output voltage
  */
  HAL_PWREx_ControlVoltageScaling(PWR_REGULATOR_VOLTAGE_SCALE1);

  /** Initializes the RCC Oscillators according to the specified parameters
  * in the RCC_OscInitTypeDef structure.
  */
  RCC_OscInitStruct.OscillatorType = RCC_OSCILLATORTYPE_HSI;
  RCC_OscInitStruct.HSIState = RCC_HSI_ON;
  RCC_OscInitStruct.HSIDiv = RCC_HSI_DIV1;
  RCC_OscInitStruct.HSICalibrationValue = RCC_HSICALIBRATION_DEFAULT;
  RCC_OscInitStruct.PLL.PLLState = RCC_PLL_ON;
  RCC_OscInitStruct.PLL.PLLSource = RCC_PLLSOURCE_HSI;
  RCC_OscInitStruct.PLL.PLLM = RCC_PLLM_DIV1;
  RCC_OscInitStruct.PLL.PLLN = 8;
  RCC_OscInitStruct.PLL.PLLP = RCC_PLLP_DIV2;
  RCC_OscInitStruct.PLL.PLLR = RCC_PLLR_DIV2;
  if (HAL_RCC_OscConfig(&RCC_OscInitStruct) != HAL_OK)
  {
    Error_Handler();
  }

  /** Initializes the CPU, AHB and APB buses clocks
  */
  RCC_ClkInitStruct.ClockType = RCC_CLOCKTYPE_HCLK|RCC_CLOCKTYPE_SYSCLK
                              |RCC_CLOCKTYPE_PCLK1;
  RCC_ClkInitStruct.SYSCLKSource = RCC_SYSCLKSOURCE_PLLCLK;
  RCC_ClkInitStruct.AHBCLKDivider = RCC_SYSCLK_DIV1;
  RCC_ClkInitStruct.APB1CLKDivider = RCC_HCLK_DIV1;

  if (HAL_RCC_ClockConfig(&RCC_ClkInitStruct, FLASH_LATENCY_2) != HAL_OK)
  {
    Error_Handler();
  }
}

static void MX_ADC1_Init(void)
{

  ADC_ChannelConfTypeDef sConfig = {0};

  /** Configure the global features of the ADC (Clock, Resolution, Data Alignment and number of conversion)
  */
  hadc1.Instance = ADC1;
  hadc1.Init.ClockPrescaler = ADC_CLOCK_ASYNC_DIV1;
  hadc1.Init.Resolution = ADC_RESOLUTION_12B;
  hadc1.Init.DataAlign = ADC_DATAALIGN_RIGHT;
  hadc1.Init.ScanConvMode = ADC_SCAN_SEQ_FIXED;
  hadc1.Init.EOCSelection = ADC_EOC_SEQ_CONV;
  hadc1.Init.LowPowerAutoWait = DISABLE;
  hadc1.Init.LowPowerAutoPowerOff = DISABLE;
  hadc1.Init.ContinuousConvMode = ENABLE;
  hadc1.Init.NbrOfConversion = 1;
  hadc1.Init.DiscontinuousConvMode = DISABLE;
  hadc1.Init.ExternalTrigConv = ADC_SOFTWARE_START;
  hadc1.Init.ExternalTrigConvEdge = ADC_EXTERNALTRIGCONVEDGE_NONE;
  hadc1.Init.DMAContinuousRequests = DISABLE;
  hadc1.Init.Overrun = ADC_OVR_DATA_PRESERVED;
  hadc1.Init.SamplingTimeCommon1 = ADC_SAMPLETIME_39CYCLES_5;
  hadc1.Init.OversamplingMode = DISABLE;
  hadc1.Init.TriggerFrequencyMode = ADC_TRIGGER_FREQ_HIGH;
  if (HAL_ADC_Init(&hadc1) != HAL_OK)
  {
    Error_Handler();
  }

  /** Configure Regular Channel
  */
  sConfig.Channel = ADC_CHANNEL_0;
  sConfig.Rank = ADC_RANK_CHANNEL_NUMBER;
  if (HAL_ADC_ConfigChannel(&hadc1, &sConfig) != HAL_OK)
  {
    Error_Handler();
  }

  /** Configure Regular Channel
  */
  sConfig.Channel = ADC_CHANNEL_1;
  if (HAL_ADC_ConfigChannel(&hadc1, &sConfig) != HAL_OK)
  {
    Error_Handler();
  }

  /** Configure Regular Channel
  */
  sConfig.Channel = ADC_CHANNEL_2;
  if (HAL_ADC_ConfigChannel(&hadc1, &sConfig) != HAL_OK)
  {
    Error_Handler();
  }

  /** Configure Regular Channel
  */
  sConfig.Channel = ADC_CHANNEL_3;
  if (HAL_ADC_ConfigChannel(&hadc1, &sConfig) != HAL_OK)
  {
    Error_Handler();
  }

  /** Configure Regular Channel
  */
  sConfig.Channel = ADC_CHANNEL_4;
  if (HAL_ADC_ConfigChannel(&hadc1, &sConfig) != HAL_OK)
  {
    Error_Handler();
  }

  /** Configure Regular Channel
  */
  sConfig.Channel = ADC_CHANNEL_5;
  if (HAL_ADC_ConfigChannel(&hadc1, &sConfig) != HAL_OK)
  {
    Error_Handler();
  }

  /** Configure Regular Channel
  */
  sConfig.Channel = ADC_CHANNEL_6;
  if (HAL_ADC_ConfigChannel(&hadc1, &sConfig) != HAL_OK)
  {
    Error_Handler();
  }

  /** Configure Regular Channel
  */
  sConfig.Channel = ADC_CHANNEL_7;
  if (HAL_ADC_ConfigChannel(&hadc1, &sConfig) != HAL_OK)
  {
    Error_Handler();
  }

  /** Configure Regular Channel
  */
  sConfig.Channel = ADC_CHANNEL_8;
  if (HAL_ADC_ConfigChannel(&hadc1, &sConfig) != HAL_OK)
  {
    Error_Handler();
  }

  /** Configure Regular Channel
  */
  sConfig.Channel = ADC_CHANNEL_9;
  if (HAL_ADC_ConfigChannel(&hadc1, &sConfig) != HAL_OK)
  {
    Error_Handler();
  }

  /** Configure Regular Channel
  */
  sConfig.Channel = ADC_CHANNEL_17;
  if (HAL_ADC_ConfigChannel(&hadc1, &sConfig) != HAL_OK)
  {
    Error_Handler();
  }

  /** Configure Regular Channel
  */
  sConfig.Channel = ADC_CHANNEL_18;
  if (HAL_ADC_ConfigChannel(&hadc1, &sConfig) != HAL_OK)
  {
    Error_Handler();
  }

}

static void MX_I2C1_Init(void)
{

  hi2c1.Instance = I2C1;
  hi2c1.Init.Timing = 0x00602173;
  hi2c1.Init.OwnAddress1 = 2;
  hi2c1.Init.AddressingMode = I2C_ADDRESSINGMODE_7BIT;
  hi2c1.Init.DualAddressMode = I2C_DUALADDRESS_DISABLE;
  hi2c1.Init.OwnAddress2 = 0;
  hi2c1.Init.OwnAddress2Masks = I2C_OA2_NOMASK;
  hi2c1.Init.GeneralCallMode = I2C_GENERALCALL_DISABLE;
  hi2c1.Init.NoStretchMode = I2C_NOSTRETCH_DISABLE;
  if (HAL_I2C_Init(&hi2c1) != HAL_OK)
  {
    Error_Handler();
  }

  /** Configure Analogue filter
  */
  if (HAL_I2CEx_ConfigAnalogFilter(&hi2c1, I2C_ANALOGFILTER_ENABLE) != HAL_OK)
  {
    Error_Handler();
  }

  /** Configure Digital filter
  */
  if (HAL_I2CEx_ConfigDigitalFilter(&hi2c1, 0) != HAL_OK)
  {
    Error_Handler();
  }

}

static void MX_I2C2_Init(void)
{

  hi2c2.Instance = I2C2;
  hi2c2.Init.Timing = 0x00602173;
  hi2c2.Init.OwnAddress1 = 2;
  hi2c2.Init.AddressingMode = I2C_ADDRESSINGMODE_7BIT;
  hi2c2.Init.DualAddressMode = I2C_DUALADDRESS_DISABLE;
  hi2c2.Init.OwnAddress2 = 0;
  hi2c2.Init.OwnAddress2Masks = I2C_OA2_NOMASK;
  hi2c2.Init.GeneralCallMode = I2C_GENERALCALL_DISABLE;
  hi2c2.Init.NoStretchMode = I2C_NOSTRETCH_DISABLE;
  if (HAL_I2C_Init(&hi2c2) != HAL_OK)
  {
    Error_Handler();
  }

  /** Configure Analogue filter
  */
  if (HAL_I2CEx_ConfigAnalogFilter(&hi2c2, I2C_ANALOGFILTER_ENABLE) != HAL_OK)
  {
    Error_Handler();
  }

  /** Configure Digital filter
  */
  if (HAL_I2CEx_ConfigDigitalFilter(&hi2c2, 0) != HAL_OK)
  {
    Error_Handler();
  }

}

static void MX_TIM1_Init(void)
{

  TIM_ClockConfigTypeDef sClockSourceConfig = {0};
  TIM_MasterConfigTypeDef sMasterConfig = {0};
  TIM_OC_InitTypeDef sConfigOC = {0};
  TIM_BreakDeadTimeConfigTypeDef sBreakDeadTimeConfig = {0};

  htim1.Instance = TIM1;
  htim1.Init.Prescaler = 0;
  htim1.Init.CounterMode = TIM_COUNTERMODE_UP;
  htim1.Init.Period = 255;
  htim1.Init.ClockDivision = TIM_CLOCKDIVISION_DIV1;
  htim1.Init.RepetitionCounter = 0;
  htim1.Init.AutoReloadPreload = TIM_AUTORELOAD_PRELOAD_DISABLE;
  if (HAL_TIM_Base_Init(&htim1) != HAL_OK)
  {
    Error_Handler();
  }
  sClockSourceConfig.ClockSource = TIM_CLOCKSOURCE_INTERNAL;
  if (HAL_TIM_ConfigClockSource(&htim1, &sClockSourceConfig) != HAL_OK)
  {
    Error_Handler();
  }
  if (HAL_TIM_PWM_Init(&htim1) != HAL_OK)
  {
    Error_Handler();
  }
  sMasterConfig.MasterOutputTrigger = TIM_TRGO_RESET;
  sMasterConfig.MasterOutputTrigger2 = TIM_TRGO2_RESET;
  sMasterConfig.MasterSlaveMode = TIM_MASTERSLAVEMODE_DISABLE;
  if (HAL_TIMEx_MasterConfigSynchronization(&htim1, &sMasterConfig) != HAL_OK)
  {
    Error_Handler();
  }
  sConfigOC.OCMode = TIM_OCMODE_PWM1;
  sConfigOC.Pulse = 0;
  sConfigOC.OCPolarity = TIM_OCPOLARITY_HIGH;
  sConfigOC.OCNPolarity = TIM_OCNPOLARITY_HIGH;
  sConfigOC.OCFastMode = TIM_OCFAST_DISABLE;
  sConfigOC.OCIdleState = TIM_OCIDLESTATE_RESET;
  sConfigOC.OCNIdleState = TIM_OCNIDLESTATE_RESET;
  if (HAL_TIM_PWM_ConfigChannel(&htim1, &sConfigOC, TIM_CHANNEL_1) != HAL_OK)
  {
    Error_Handler();
  }
  if (HAL_TIM_PWM_ConfigChannel(&htim1, &sConfigOC, TIM_CHANNEL_2) != HAL_OK)
  {
    Error_Handler();
  }
  if (HAL_TIM_PWM_ConfigChannel(&htim1, &sConfigOC, TIM_CHANNEL_3) != HAL_OK)
  {
    Error_Handler();
  }
  if (HAL_TIM_PWM_ConfigChannel(&htim1, &sConfigOC, TIM_CHANNEL_4) != HAL_OK)
  {
    Error_Handler();
  }
  sBreakDeadTimeConfig.OffStateRunMode = TIM_OSSR_DISABLE;
  sBreakDeadTimeConfig.OffStateIDLEMode = TIM_OSSI_DISABLE;
  sBreakDeadTimeConfig.LockLevel = TIM_LOCKLEVEL_OFF;
  sBreakDeadTimeConfig.DeadTime = 0;
  sBreakDeadTimeConfig.BreakState = TIM_BREAK_DISABLE;
  sBreakDeadTimeConfig.BreakPolarity = TIM_BREAKPOLARITY_HIGH;
  sBreakDeadTimeConfig.BreakFilter = 0;
  sBreakDeadTimeConfig.BreakAFMode = TIM_BREAK_AFMODE_INPUT;
  sBreakDeadTimeConfig.Break2State = TIM_BREAK2_DISABLE;
  sBreakDeadTimeConfig.Break2Polarity = TIM_BREAK2POLARITY_HIGH;
  sBreakDeadTimeConfig.Break2Filter = 0;
  sBreakDeadTimeConfig.Break2AFMode = TIM_BREAK_AFMODE_INPUT;
  sBreakDeadTimeConfig.AutomaticOutput = TIM_AUTOMATICOUTPUT_DISABLE;
  if (HAL_TIMEx_ConfigBreakDeadTime(&htim1, &sBreakDeadTimeConfig) != HAL_OK)
  {
    Error_Handler();
  }
  HAL_TIM_MspPostInit(&htim1);

}

static void MX_TIM3_Init(void)
{

  TIM_ClockConfigTypeDef sClockSourceConfig = {0};
  TIM_MasterConfigTypeDef sMasterConfig = {0};

  htim3.Instance = TIM3;
  htim3.Init.Prescaler = 0;
  htim3.Init.CounterMode = TIM_COUNTERMODE_UP;
  htim3.Init.Period = 1000;
  htim3.Init.ClockDivision = TIM_CLOCKDIVISION_DIV1;
  htim3.Init.AutoReloadPreload = TIM_AUTORELOAD_PRELOAD_DISABLE;
  if (HAL_TIM_Base_Init(&htim3) != HAL_OK)
  {
    Error_Handler();
  }
  sClockSourceConfig.ClockSource = TIM_CLOCKSOURCE_INTERNAL;
  if (HAL_TIM_ConfigClockSource(&htim3, &sClockSourceConfig) != HAL_OK)
  {
    Error_Handler();
  }
  sMasterConfig.MasterOutputTrigger = TIM_TRGO_RESET;
  sMasterConfig.MasterSlaveMode = TIM_MASTERSLAVEMODE_DISABLE;
  if (HAL_TIMEx_MasterConfigSynchronization(&htim3, &sMasterConfig) != HAL_OK)
  {
    Error_Handler();
  }

}

static void MX_TIM6_Init(void)
{

  TIM_MasterConfigTypeDef sMasterConfig = {0};

  htim6.Instance = TIM6;
  htim6.Init.Prescaler = 0;
  htim6.Init.CounterMode = TIM_COUNTERMODE_UP;
  htim6.Init.Period = 64000;
  htim6.Init.AutoReloadPreload = TIM_AUTORELOAD_PRELOAD_DISABLE;
  if (HAL_TIM_Base_Init(&htim6) != HAL_OK)
  {
    Error_Handler();
  }
  sMasterConfig.MasterOutputTrigger = TIM_TRGO_RESET;
  sMasterConfig.MasterSlaveMode = TIM_MASTERSLAVEMODE_DISABLE;
  if (HAL_TIMEx_MasterConfigSynchronization(&htim6, &sMasterConfig) != HAL_OK)
  {
    Error_Handler();
  }

}

static void MX_TIM7_Init(void)
{

  TIM_MasterConfigTypeDef sMasterConfig = {0};

  htim7.Instance = TIM7;
  htim7.Init.Prescaler = 0;
  htim7.Init.CounterMode = TIM_COUNTERMODE_UP;
  htim7.Init.Period = 9600;
  htim7.Init.AutoReloadPreload = TIM_AUTORELOAD_PRELOAD_DISABLE;
  if (HAL_TIM_Base_Init(&htim7) != HAL_OK)
  {
    Error_Handler();
  }
  sMasterConfig.MasterOutputTrigger = TIM_TRGO_RESET;
  sMasterConfig.MasterSlaveMode = TIM_MASTERSLAVEMODE_DISABLE;
  if (HAL_TIMEx_MasterConfigSynchronization(&htim7, &sMasterConfig) != HAL_OK)
  {
    Error_Handler();
  }

}

static void MX_TIM14_Init(void)
{

  htim14.Instance = TIM14;
  htim14.Init.Prescaler = 0;
  htim14.Init.CounterMode = TIM_COUNTERMODE_UP;
  htim14.Init.Period = 2400;
  htim14.Init.ClockDivision = TIM_CLOCKDIVISION_DIV1;
  htim14.Init.AutoReloadPreload = TIM_AUTORELOAD_PRELOAD_DISABLE;
  if (HAL_TIM_Base_Init(&htim14) != HAL_OK)
  {
    Error_Handler();
  }

}

static void MX_TIM15_Init(void)
{

  TIM_MasterConfigTypeDef sMasterConfig = {0};
  TIM_OC_InitTypeDef sConfigOC = {0};
  TIM_BreakDeadTimeConfigTypeDef sBreakDeadTimeConfig = {0};

  htim15.Instance = TIM15;
  htim15.Init.Prescaler = 0;
  htim15.Init.CounterMode = TIM_COUNTERMODE_UP;
  htim15.Init.Period = 65535;
  htim15.Init.ClockDivision = TIM_CLOCKDIVISION_DIV1;
  htim15.Init.RepetitionCounter = 0;
  htim15.Init.AutoReloadPreload = TIM_AUTORELOAD_PRELOAD_DISABLE;
  if (HAL_TIM_PWM_Init(&htim15) != HAL_OK)
  {
    Error_Handler();
  }
  sMasterConfig.MasterOutputTrigger = TIM_TRGO_RESET;
  sMasterConfig.MasterSlaveMode = TIM_MASTERSLAVEMODE_DISABLE;
  if (HAL_TIMEx_MasterConfigSynchronization(&htim15, &sMasterConfig) != HAL_OK)
  {
    Error_Handler();
  }
  sConfigOC.OCMode = TIM_OCMODE_PWM1;
  sConfigOC.Pulse = 0;
  sConfigOC.OCPolarity = TIM_OCPOLARITY_HIGH;
  sConfigOC.OCNPolarity = TIM_OCNPOLARITY_HIGH;
  sConfigOC.OCFastMode = TIM_OCFAST_DISABLE;
  sConfigOC.OCIdleState = TIM_OCIDLESTATE_RESET;
  sConfigOC.OCNIdleState = TIM_OCNIDLESTATE_RESET;
  if (HAL_TIM_PWM_ConfigChannel(&htim15, &sConfigOC, TIM_CHANNEL_1) != HAL_OK)
  {
    Error_Handler();
  }
  if (HAL_TIM_PWM_ConfigChannel(&htim15, &sConfigOC, TIM_CHANNEL_2) != HAL_OK)
  {
    Error_Handler();
  }
  sBreakDeadTimeConfig.OffStateRunMode = TIM_OSSR_DISABLE;
  sBreakDeadTimeConfig.OffStateIDLEMode = TIM_OSSI_DISABLE;
  sBreakDeadTimeConfig.LockLevel = TIM_LOCKLEVEL_OFF;
  sBreakDeadTimeConfig.DeadTime = 0;
  sBreakDeadTimeConfig.BreakState = TIM_BREAK_DISABLE;
  sBreakDeadTimeConfig.BreakPolarity = TIM_BREAKPOLARITY_HIGH;
  sBreakDeadTimeConfig.BreakFilter = 0;
  sBreakDeadTimeConfig.AutomaticOutput = TIM_AUTOMATICOUTPUT_DISABLE;
  if (HAL_TIMEx_ConfigBreakDeadTime(&htim15, &sBreakDeadTimeConfig) != HAL_OK)
  {
    Error_Handler();
  }
  HAL_TIM_MspPostInit(&htim15);

}

static void MX_DMA_Init(void)
{

  /* DMA controller clock enable */
  __HAL_RCC_DMA1_CLK_ENABLE();

  /* DMA interrupt init */
  /* DMA1_Channel1_IRQn interrupt configuration */
  HAL_NVIC_SetPriority(DMA1_Channel1_IRQn, 1, 0);
  HAL_NVIC_EnableIRQ(DMA1_Channel1_IRQn);

}

static void MX_GPIO_Init(void)
{
  GPIO_InitTypeDef GPIO_InitStruct = {0};

  /* GPIO Ports Clock Enable */
  __HAL_RCC_GPIOC_CLK_ENABLE();
  __HAL_RCC_GPIOA_CLK_ENABLE();
  __HAL_RCC_GPIOB_CLK_ENABLE();
  __HAL_RCC_GPIOD_CLK_ENABLE();

  /*Configure GPIO pin Output Level */
  HAL_GPIO_WritePin(GPIOC, CE_BOOST_Pin|OE_MUX_Pin, GPIO_PIN_RESET);

  /*Configure GPIO pin Output Level */
  HAL_GPIO_WritePin(GPIOC, OTG1_Pin|S_MUX_Pin|NEOPIXEL_DI_Pin, GPIO_PIN_SET);

  /*Configure GPIO pin Output Level */
  HAL_GPIO_WritePin(GPIOB, STM_INT_OUT2_Pin|STM_INT_OUT1_Pin|LED_Pin|GPIO_PIN_3
                          |EN_ESP_Pin|TRIG_SONAR_Pin, GPIO_PIN_RESET);

  /*Configure GPIO pin Output Level */
  HAL_GPIO_WritePin(GPIOD, GPIO_PIN_0|GPIO_PIN_1|GPIO_PIN_2|GPIO_PIN_3
                          |GPIO_PIN_4|GPIO_PIN_5|GPIO_PIN_6, GPIO_PIN_RESET);

  /*Configure GPIO pin Output Level */
  HAL_GPIO_WritePin(nSLEEP_MOTORS_GPIO_Port, nSLEEP_MOTORS_Pin, GPIO_PIN_SET);

  /*Configure GPIO pins : CE_BOOST_Pin OTG1_Pin OE_MUX_Pin S_MUX_Pin */
  GPIO_InitStruct.Pin = CE_BOOST_Pin|OTG1_Pin|OE_MUX_Pin|S_MUX_Pin;
  GPIO_InitStruct.Mode = GPIO_MODE_OUTPUT_PP;
  GPIO_InitStruct.Pull = GPIO_NOPULL;
  GPIO_InitStruct.Speed = GPIO_SPEED_FREQ_LOW;
  HAL_GPIO_Init(GPIOC, &GPIO_InitStruct);

  /*Configure GPIO pin : NEOPIXEL_DI_Pin */
  GPIO_InitStruct.Pin = NEOPIXEL_DI_Pin;
  GPIO_InitStruct.Mode = GPIO_MODE_OUTPUT_OD;
  GPIO_InitStruct.Pull = GPIO_NOPULL;
  GPIO_InitStruct.Speed = GPIO_SPEED_FREQ_LOW;
  HAL_GPIO_Init(NEOPIXEL_DI_GPIO_Port, &GPIO_InitStruct);

  /*Configure GPIO pins : STM_INT_OUT2_Pin STM_INT_OUT1_Pin LED_Pin PB3
                           EN_ESP_Pin nSLEEP_MOTORS_Pin TRIG_SONAR_Pin */
  GPIO_InitStruct.Pin = STM_INT_OUT2_Pin|STM_INT_OUT1_Pin|LED_Pin|GPIO_PIN_3
                          |EN_ESP_Pin|nSLEEP_MOTORS_Pin|TRIG_SONAR_Pin;
  GPIO_InitStruct.Mode = GPIO_MODE_OUTPUT_PP;
  GPIO_InitStruct.Pull = GPIO_NOPULL;
  GPIO_InitStruct.Speed = GPIO_SPEED_FREQ_LOW;
  HAL_GPIO_Init(GPIOB, &GPIO_InitStruct);

  /*Configure GPIO pins : Hall1_1_Pin Hall1_2_Pin */
  GPIO_InitStruct.Pin = Hall1_1_Pin|Hall1_2_Pin;
  GPIO_InitStruct.Mode = GPIO_MODE_IT_RISING;
  GPIO_InitStruct.Pull = GPIO_NOPULL;
  HAL_GPIO_Init(GPIOC, &GPIO_InitStruct);

  /*Configure GPIO pins : Hall2_1_Pin Hall2_2_Pin */
  GPIO_InitStruct.Pin = Hall2_1_Pin|Hall2_2_Pin;
  GPIO_InitStruct.Mode = GPIO_MODE_IT_RISING;
  GPIO_InitStruct.Pull = GPIO_NOPULL;
  HAL_GPIO_Init(GPIOD, &GPIO_InitStruct);

  /*Configure GPIO pin : ON_PRESS_Pin */
  GPIO_InitStruct.Pin = ON_PRESS_Pin;
  GPIO_InitStruct.Mode = GPIO_MODE_IT_FALLING;
  GPIO_InitStruct.Pull = GPIO_NOPULL;
  HAL_GPIO_Init(ON_PRESS_GPIO_Port, &GPIO_InitStruct);

  /*Configure GPIO pin : INPUT_BUTTON_Pin */
  GPIO_InitStruct.Pin = INPUT_BUTTON_Pin;
  GPIO_InitStruct.Mode = GPIO_MODE_INPUT;
  GPIO_InitStruct.Pull = GPIO_NOPULL;
  HAL_GPIO_Init(INPUT_BUTTON_GPIO_Port, &GPIO_InitStruct);

  /*Configure GPIO pins : PD0 PD1 PD2 PD3
                           PD4 PD5 PD6 */
  GPIO_InitStruct.Pin = GPIO_PIN_0|GPIO_PIN_1|GPIO_PIN_2|GPIO_PIN_3
                          |GPIO_PIN_4|GPIO_PIN_5|GPIO_PIN_6;
  GPIO_InitStruct.Mode = GPIO_MODE_OUTPUT_PP;
  GPIO_InitStruct.Pull = GPIO_NOPULL;
  GPIO_InitStruct.Speed = GPIO_SPEED_FREQ_LOW;
  HAL_GPIO_Init(GPIOD, &GPIO_InitStruct);

  /*Configure GPIO pins : INT_BOOST_Pin INT_ACCEL_Pin */
  GPIO_InitStruct.Pin = INT_BOOST_Pin|INT_ACCEL_Pin;
  GPIO_InitStruct.Mode = GPIO_MODE_IT_RISING;
  GPIO_InitStruct.Pull = GPIO_NOPULL;
  HAL_GPIO_Init(GPIOB, &GPIO_InitStruct);

  /*Configure GPIO pin : ECHO_SONAR_Pin */
  GPIO_InitStruct.Pin = ECHO_SONAR_Pin;
  GPIO_InitStruct.Mode = GPIO_MODE_IT_RISING_FALLING;
  GPIO_InitStruct.Pull = GPIO_NOPULL;
  HAL_GPIO_Init(ECHO_SONAR_GPIO_Port, &GPIO_InitStruct);

  /* EXTI interrupt init*/
  HAL_NVIC_SetPriority(EXTI4_15_IRQn, 1, 0);
  HAL_NVIC_EnableIRQ(EXTI4_15_IRQn);

}

void Error_Handler(void)
{
  __disable_irq();
  while (1)
  {
  }
}
